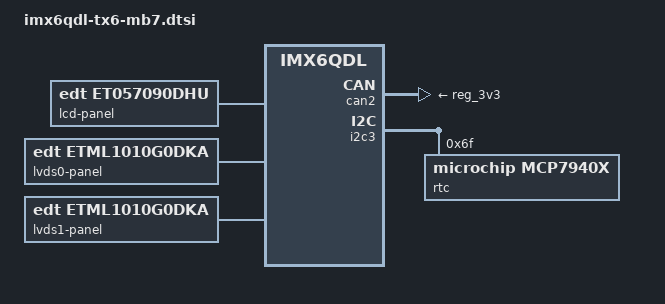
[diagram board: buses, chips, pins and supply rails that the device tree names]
/ {
	backlight0 {
		pwms = <&pwm1 0 500000 PWM_POLARITY_INVERTED>;
		turn-on-delay-ms = <35>;
		power-supply = <&reg_lcd1_pwr>;
	};
	backlight1 {
		pwms = <&pwm2 0 500000 PWM_POLARITY_INVERTED>;
		turn-on-delay-ms = <35>;
		power-supply = <&reg_lcd1_pwr>;
	};
	lcd-panel {
		compatible = "edt,et057090dhu";
		pixelclk-active = <0>;
	};
	lvds0-panel {
		compatible = "edt,etml1010g0dka";
		pixelclk-active = <0>;
	};
	lvds1-panel {
		compatible = "edt,etml1010g0dka";
		pixelclk-active = <0>;
	};
};
&can1 {
	status = "disabled";
};
&can2 {
	xceiver-supply = <&reg_3v3>;
};
&ds1339 {
	status = "disabled";
};
&i2c3 {
	rtc: rtc@6f {
		compatible = "microchip,mcp7940x";
		reg = <0x6f>;
	};
};
&reg_lcd0_pwr {
	status = "disabled";
};
